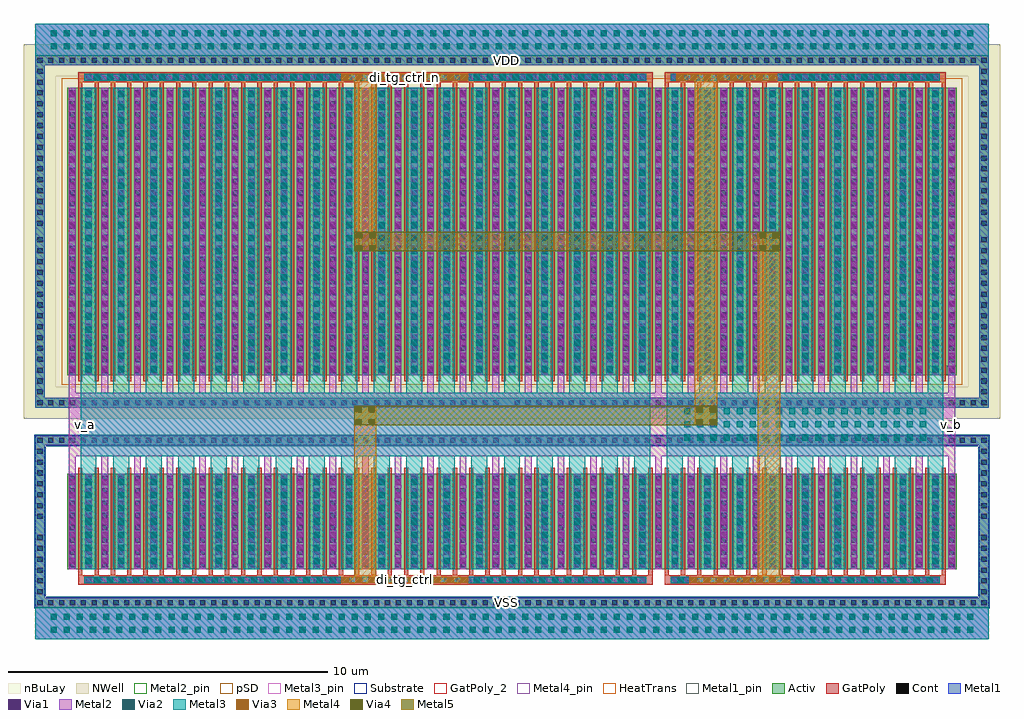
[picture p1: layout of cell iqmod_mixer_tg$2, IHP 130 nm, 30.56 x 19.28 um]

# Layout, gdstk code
import gdstk
lib = gdstk.Library(unit=1e-6, precision=1e-09)
def R(c, l, rs):  # rectangles x0, y0, x1, y1
    for r in rs: c.add(gdstk.rectangle(r[:2], r[2:], *l))
def A(c, l, x, y, w, h, nx, ny, dx, dy):  # array of equal rectangles
    R(c, l, [(x+i*dx, y+j*dy, x+i*dx+w, y+j*dy+h) for i in range(nx) for j in range(ny)])
def P(c, l, *ps):  # polygons
    for p in ps: c.add(gdstk.Polygon(p, *l))
Activ = (1, 0)
GatPoly = (5, 0)
GatPoly_2 = (5, 2)
Cont = (6, 0)
Metal1 = (8, 0)
Metal1_pin = (8, 2)
Metal2 = (10, 0)
Metal2_pin = (10, 2)
pSD = (14, 0)
Via1 = (19, 0)
Via2 = (29, 0)
Metal3 = (30, 0)
Metal3_pin = (30, 2)
NWell = (31, 0)
nBuLay = (32, 0)
Substrate = (40, 0)
Via3 = (49, 0)
Metal4 = (50, 0)
Metal4_pin = (50, 2)
HeatTrans = (51, 0)
Via4 = (66, 0)
Metal5 = (67, 0)

pmos_89 = lib.new_cell('pmos$89')
A(pmos_89, Activ, 0, 0, 0.3, 0.3, 55, 1, 0.51, 0)
R(pmos_89, Activ, [(-1.01,-0.71,-0.71,9.71), (28.55,-0.71,28.85,9.71), (0,0,27.84,9), (-1.01,9.71,28.85,10.01)])
P(pmos_89, Activ, [(-1.01,-1.01),(-1.01,9.71),(-0.71,9.71),(-0.71,-0.71),(28.55,-0.71),(28.55,9.71),(-1.01,9.71),(-1.01,10.01),(28.85,10.01),(28.85,-1.01)])
A(pmos_89, GatPoly, 0.34, -0.18, 0.13, 9.36, 54, 1, 0.51, 0)
R(pmos_89, GatPoly, [(0.34,-0.18,0.47,9.18)])
A(pmos_89, Cont, -0.94, -0.94, 0.16, 0.16, 43, 2, 0.34, 10.72)
A(pmos_89, Cont, 14, -0.94, 0.16, 0.16, 44, 2, 0.34, 10.72)
A(pmos_89, Cont, -0.94, -0.6, 0.16, 0.16, 1, 15, 0, 0.34)
A(pmos_89, Cont, 28.62, -0.6, 0.16, 0.16, 1, 15, 0, 0.34)
A(pmos_89, Cont, 0.07, 0.07, 0.16, 0.16, 55, 2, 0.51, 0.345)
A(pmos_89, Cont, 0.07, 0.765, 0.16, 0.16, 55, 2, 0.51, 0.345)
A(pmos_89, Cont, 0.07, 1.46, 0.16, 0.16, 55, 2, 0.51, 0.35)
A(pmos_89, Cont, 0.07, 2.155, 0.16, 0.16, 55, 2, 0.51, 0.35)
A(pmos_89, Cont, 0.07, 2.85, 0.16, 0.16, 55, 3, 0.51, 0.35)
A(pmos_89, Cont, 0.07, 3.895, 0.16, 0.16, 55, 2, 0.51, 0.35)
A(pmos_89, Cont, 0.07, 4.59, 0.16, 0.16, 55, 3, 0.51, 0.35)
A(pmos_89, Cont, -0.94, 4.68, 0.16, 0.16, 1, 15, 0, 0.34)
A(pmos_89, Cont, 28.62, 4.68, 0.16, 0.16, 1, 15, 0, 0.34)
A(pmos_89, Cont, 0.07, 5.635, 0.16, 0.16, 55, 2, 0.51, 0.35)
A(pmos_89, Cont, 0.07, 6.33, 0.16, 0.16, 55, 3, 0.51, 0.35)
A(pmos_89, Cont, 0.07, 7.375, 0.16, 0.16, 55, 2, 0.51, 0.35)
A(pmos_89, Cont, 0.07, 8.07, 0.16, 0.16, 55, 3, 0.51, 0.35)
A(pmos_89, Metal1, 0.58, 0, 0.16, 9, 54, 1, 0.51, 0)
R(pmos_89, Metal1, [(-1.01,-1.01,28.85,-0.71), (-1.01,-0.71,-0.71,9.71), (28.55,-0.71,28.85,9.71), (0.07,0,0.23,9), (0.07,0,0.23,9), (0.58,0,0.74,9), (-1.01,9.71,28.85,10.01)])
R(pmos_89, pSD, [(-0.18,-0.3,28.02,9.3)])
R(pmos_89, NWell, [(-1.36,-1.36,29.2,10.36), (-0.31,-0.31,28.15,9.31)])
R(pmos_89, nBuLay, [(-1.36,-0.36,-0.36,9.36), (28.2,-0.36,29.2,9.36), (-1.36,9.36,29.2,10.36)])
P(pmos_89, nBuLay, [(-1.36,-1.36),(-1.36,9.36),(-0.36,9.36),(-0.36,-0.36),(28.2,-0.36),(28.2,9.36),(-1.36,9.36),(-1.36,10.36),(29.2,10.36),(29.2,-1.36)])
R(pmos_89, Substrate, [(27.54,0,27.84,0.3)])
A(pmos_89, HeatTrans, 0.34, -0.18, 0.13, 9.36, 54, 1, 0.51, 0)
pmos_89.add(gdstk.Label('pmos', (0.405,4.5), layer=63, texttype=0))
pmos_89.add(gdstk.Label('well', (13.92,-0.86), layer=63, texttype=0))
pmos_89.add(gdstk.Label('pmos', (0.405,4.5), layer=51, texttype=0))
pmos_89.add(gdstk.Label('pmos', (0.915,4.5), layer=51, texttype=0))
pmos_89.add(gdstk.Label('pmos', (1.425,4.5), layer=51, texttype=0))
pmos_89.add(gdstk.Label('pmos', (1.935,4.5), layer=51, texttype=0))
pmos_89.add(gdstk.Label('pmos', (2.445,4.5), layer=51, texttype=0))
pmos_89.add(gdstk.Label('pmos', (2.955,4.5), layer=51, texttype=0))
pmos_89.add(gdstk.Label('pmos', (3.465,4.5), layer=51, texttype=0))
pmos_89.add(gdstk.Label('pmos', (3.975,4.5), layer=51, texttype=0))
pmos_89.add(gdstk.Label('pmos', (4.485,4.5), layer=51, texttype=0))
pmos_89.add(gdstk.Label('pmos', (4.995,4.5), layer=51, texttype=0))
pmos_89.add(gdstk.Label('pmos', (5.505,4.5), layer=51, texttype=0))
pmos_89.add(gdstk.Label('pmos', (6.015,4.5), layer=51, texttype=0))
pmos_89.add(gdstk.Label('pmos', (6.525,4.5), layer=51, texttype=0))
pmos_89.add(gdstk.Label('pmos', (7.035,4.5), layer=51, texttype=0))
pmos_89.add(gdstk.Label('pmos', (7.545,4.5), layer=51, texttype=0))
pmos_89.add(gdstk.Label('pmos', (8.055,4.5), layer=51, texttype=0))
pmos_89.add(gdstk.Label('pmos', (8.565,4.5), layer=51, texttype=0))
pmos_89.add(gdstk.Label('pmos', (9.075,4.5), layer=51, texttype=0))
pmos_89.add(gdstk.Label('pmos', (9.585,4.5), layer=51, texttype=0))
pmos_89.add(gdstk.Label('pmos', (10.095,4.5), layer=51, texttype=0))
pmos_89.add(gdstk.Label('pmos', (10.605,4.5), layer=51, texttype=0))
pmos_89.add(gdstk.Label('pmos', (11.115,4.5), layer=51, texttype=0))
pmos_89.add(gdstk.Label('pmos', (11.625,4.5), layer=51, texttype=0))
pmos_89.add(gdstk.Label('pmos', (12.135,4.5), layer=51, texttype=0))
pmos_89.add(gdstk.Label('pmos', (12.645,4.5), layer=51, texttype=0))
pmos_89.add(gdstk.Label('pmos', (13.155,4.5), layer=51, texttype=0))
pmos_89.add(gdstk.Label('pmos', (13.665,4.5), layer=51, texttype=0))
pmos_89.add(gdstk.Label('pmos', (14.175,4.5), layer=51, texttype=0))
pmos_89.add(gdstk.Label('pmos', (14.685,4.5), layer=51, texttype=0))
pmos_89.add(gdstk.Label('pmos', (15.195,4.5), layer=51, texttype=0))
pmos_89.add(gdstk.Label('pmos', (15.705,4.5), layer=51, texttype=0))
pmos_89.add(gdstk.Label('pmos', (16.215,4.5), layer=51, texttype=0))
pmos_89.add(gdstk.Label('pmos', (16.725,4.5), layer=51, texttype=0))
pmos_89.add(gdstk.Label('pmos', (17.235,4.5), layer=51, texttype=0))
pmos_89.add(gdstk.Label('pmos', (17.745,4.5), layer=51, texttype=0))
pmos_89.add(gdstk.Label('pmos', (18.255,4.5), layer=51, texttype=0))
pmos_89.add(gdstk.Label('pmos', (18.765,4.5), layer=51, texttype=0))
pmos_89.add(gdstk.Label('pmos', (19.275,4.5), layer=51, texttype=0))
pmos_89.add(gdstk.Label('pmos', (19.785,4.5), layer=51, texttype=0))
pmos_89.add(gdstk.Label('pmos', (20.295,4.5), layer=51, texttype=0))
pmos_89.add(gdstk.Label('pmos', (20.805,4.5), layer=51, texttype=0))
pmos_89.add(gdstk.Label('pmos', (21.315,4.5), layer=51, texttype=0))
pmos_89.add(gdstk.Label('pmos', (21.825,4.5), layer=51, texttype=0))
pmos_89.add(gdstk.Label('pmos', (22.335,4.5), layer=51, texttype=0))
pmos_89.add(gdstk.Label('pmos', (22.845,4.5), layer=51, texttype=0))
pmos_89.add(gdstk.Label('pmos', (23.355,4.5), layer=51, texttype=0))
pmos_89.add(gdstk.Label('pmos', (23.865,4.5), layer=51, texttype=0))
pmos_89.add(gdstk.Label('pmos', (24.375,4.5), layer=51, texttype=0))
pmos_89.add(gdstk.Label('pmos', (24.885,4.5), layer=51, texttype=0))
pmos_89.add(gdstk.Label('pmos', (25.395,4.5), layer=51, texttype=0))
pmos_89.add(gdstk.Label('pmos', (25.905,4.5), layer=51, texttype=0))
pmos_89.add(gdstk.Label('pmos', (26.415,4.5), layer=51, texttype=0))
pmos_89.add(gdstk.Label('pmos', (26.925,4.5), layer=51, texttype=0))
pmos_89.add(gdstk.Label('pmos', (27.435,4.5), layer=51, texttype=0))

nmos_89 = lib.new_cell('nmos$89')
A(nmos_89, Activ, 0, 0, 0.3, 0.3, 55, 1, 0.51, 0)
R(nmos_89, Activ, [(-1.01,-0.89,-0.71,3.89), (28.55,-0.89,28.85,3.89), (0,0,27.84,3), (-1.01,3.89,28.85,4.19)])
P(nmos_89, Activ, [(-1.01,-1.19),(-1.01,3.89),(-0.71,3.89),(-0.71,-0.89),(28.55,-0.89),(28.55,3.89),(-1.01,3.89),(-1.01,4.19),(28.85,4.19),(28.85,-1.19)])
A(nmos_89, GatPoly, 0.34, -0.18, 0.13, 3.36, 54, 1, 0.51, 0)
R(nmos_89, GatPoly_2, [(0.34,-0.18,0.47,3.18)])
A(nmos_89, Cont, -0.94, -1.12, 0.16, 0.16, 43, 2, 0.34, 5.08)
A(nmos_89, Cont, 14, -1.12, 0.16, 0.16, 44, 2, 0.34, 5.08)
A(nmos_89, Cont, -0.94, -0.78, 0.16, 0.16, 1, 6, 0, 0.34)
A(nmos_89, Cont, 28.62, -0.78, 0.16, 0.16, 1, 6, 0, 0.34)
A(nmos_89, Cont, 0.07, 0.07, 0.16, 0.16, 55, 7, 0.51, 0.385)
A(nmos_89, Cont, -0.94, 1.58, 0.16, 0.16, 1, 7, 0, 0.34)
A(nmos_89, Cont, 28.62, 1.58, 0.16, 0.16, 1, 7, 0, 0.34)
A(nmos_89, Cont, 0.07, 2.77, 0.16, 0.16, 55, 1, 0.51, 0)
A(nmos_89, Metal1, 0.07, 0, 0.16, 3, 55, 1, 0.51, 0)
R(nmos_89, Metal1, [(-1.01,-1.19,28.85,-0.89), (-1.01,-0.89,-0.71,3.89), (28.55,-0.89,28.85,3.89), (-1.01,3.89,28.85,4.19)])
R(nmos_89, Metal1_pin, [(0.07,0,0.23,3), (0.58,0,0.74,3)])
R(nmos_89, pSD, [(-1.04,-0.86,-0.68,3.86), (28.52,-0.86,28.88,3.86), (-1.04,3.86,28.88,4.22)])
P(nmos_89, pSD, [(-1.04,-1.22),(-1.04,3.86),(-0.68,3.86),(-0.68,-0.86),(28.52,-0.86),(28.52,3.86),(-1.04,3.86),(-1.04,4.22),(28.88,4.22),(28.88,-1.22)])
R(nmos_89, Substrate, [(-1.04,-0.86,-0.68,3.86), (28.52,-0.86,28.88,3.86), (-1.04,3.86,28.88,4.22)])
P(nmos_89, Substrate, [(-1.04,-1.22),(-1.04,3.86),(-0.68,3.86),(-0.68,-0.86),(28.52,-0.86),(28.52,3.86),(-1.04,3.86),(-1.04,4.22),(28.88,4.22),(28.88,-1.22)])
A(nmos_89, HeatTrans, 0.34, -0.18, 0.13, 3.36, 54, 1, 0.51, 0)
nmos_89.add(gdstk.Label('nmos', (0.405,1.5), layer=63, texttype=0))
nmos_89.add(gdstk.Label('sub!', (13.92,-1.04), layer=63, texttype=0))
nmos_89.add(gdstk.Label('nmos', (0.405,1.5), layer=51, texttype=0))
nmos_89.add(gdstk.Label('nmos', (0.915,1.5), layer=51, texttype=0))
nmos_89.add(gdstk.Label('nmos', (1.425,1.5), layer=51, texttype=0))
nmos_89.add(gdstk.Label('nmos', (1.935,1.5), layer=51, texttype=0))
nmos_89.add(gdstk.Label('nmos', (2.445,1.5), layer=51, texttype=0))
nmos_89.add(gdstk.Label('nmos', (2.955,1.5), layer=51, texttype=0))
nmos_89.add(gdstk.Label('nmos', (3.465,1.5), layer=51, texttype=0))
nmos_89.add(gdstk.Label('nmos', (3.975,1.5), layer=51, texttype=0))
nmos_89.add(gdstk.Label('nmos', (4.485,1.5), layer=51, texttype=0))
nmos_89.add(gdstk.Label('nmos', (4.995,1.5), layer=51, texttype=0))
nmos_89.add(gdstk.Label('nmos', (5.505,1.5), layer=51, texttype=0))
nmos_89.add(gdstk.Label('nmos', (6.015,1.5), layer=51, texttype=0))
nmos_89.add(gdstk.Label('nmos', (6.525,1.5), layer=51, texttype=0))
nmos_89.add(gdstk.Label('nmos', (7.035,1.5), layer=51, texttype=0))
nmos_89.add(gdstk.Label('nmos', (7.545,1.5), layer=51, texttype=0))
nmos_89.add(gdstk.Label('nmos', (8.055,1.5), layer=51, texttype=0))
nmos_89.add(gdstk.Label('nmos', (8.565,1.5), layer=51, texttype=0))
nmos_89.add(gdstk.Label('nmos', (9.075,1.5), layer=51, texttype=0))
nmos_89.add(gdstk.Label('nmos', (9.585,1.5), layer=51, texttype=0))
nmos_89.add(gdstk.Label('nmos', (10.095,1.5), layer=51, texttype=0))
nmos_89.add(gdstk.Label('nmos', (10.605,1.5), layer=51, texttype=0))
nmos_89.add(gdstk.Label('nmos', (11.115,1.5), layer=51, texttype=0))
nmos_89.add(gdstk.Label('nmos', (11.625,1.5), layer=51, texttype=0))
nmos_89.add(gdstk.Label('nmos', (12.135,1.5), layer=51, texttype=0))
nmos_89.add(gdstk.Label('nmos', (12.645,1.5), layer=51, texttype=0))
nmos_89.add(gdstk.Label('nmos', (13.155,1.5), layer=51, texttype=0))
nmos_89.add(gdstk.Label('nmos', (13.665,1.5), layer=51, texttype=0))
nmos_89.add(gdstk.Label('nmos', (14.175,1.5), layer=51, texttype=0))
nmos_89.add(gdstk.Label('nmos', (14.685,1.5), layer=51, texttype=0))
nmos_89.add(gdstk.Label('nmos', (15.195,1.5), layer=51, texttype=0))
nmos_89.add(gdstk.Label('nmos', (15.705,1.5), layer=51, texttype=0))
nmos_89.add(gdstk.Label('nmos', (16.215,1.5), layer=51, texttype=0))
nmos_89.add(gdstk.Label('nmos', (16.725,1.5), layer=51, texttype=0))
nmos_89.add(gdstk.Label('nmos', (17.235,1.5), layer=51, texttype=0))
nmos_89.add(gdstk.Label('nmos', (17.745,1.5), layer=51, texttype=0))
nmos_89.add(gdstk.Label('nmos', (18.255,1.5), layer=51, texttype=0))
nmos_89.add(gdstk.Label('nmos', (18.765,1.5), layer=51, texttype=0))
nmos_89.add(gdstk.Label('nmos', (19.275,1.5), layer=51, texttype=0))
nmos_89.add(gdstk.Label('nmos', (19.785,1.5), layer=51, texttype=0))
nmos_89.add(gdstk.Label('nmos', (20.295,1.5), layer=51, texttype=0))
nmos_89.add(gdstk.Label('nmos', (20.805,1.5), layer=51, texttype=0))
nmos_89.add(gdstk.Label('nmos', (21.315,1.5), layer=51, texttype=0))
nmos_89.add(gdstk.Label('nmos', (21.825,1.5), layer=51, texttype=0))
nmos_89.add(gdstk.Label('nmos', (22.335,1.5), layer=51, texttype=0))
nmos_89.add(gdstk.Label('nmos', (22.845,1.5), layer=51, texttype=0))
nmos_89.add(gdstk.Label('nmos', (23.355,1.5), layer=51, texttype=0))
nmos_89.add(gdstk.Label('nmos', (23.865,1.5), layer=51, texttype=0))
nmos_89.add(gdstk.Label('nmos', (24.375,1.5), layer=51, texttype=0))
nmos_89.add(gdstk.Label('nmos', (24.885,1.5), layer=51, texttype=0))
nmos_89.add(gdstk.Label('nmos', (25.395,1.5), layer=51, texttype=0))
nmos_89.add(gdstk.Label('nmos', (25.905,1.5), layer=51, texttype=0))
nmos_89.add(gdstk.Label('nmos', (26.415,1.5), layer=51, texttype=0))
nmos_89.add(gdstk.Label('nmos', (26.925,1.5), layer=51, texttype=0))
nmos_89.add(gdstk.Label('nmos', (27.435,1.5), layer=51, texttype=0))

via_stack_818 = lib.new_cell('via_stack$818')
R(via_stack_818, Metal1, [(-0.105,-4.45,0.105,4.45)])
R(via_stack_818, Metal2, [(-0.1,-4.45,0.1,4.45)])
A(via_stack_818, Via1, -0.095, -4.4, 0.19, 0.19, 1, 22, 0, 0.41)

via_stack_819 = lib.new_cell('via_stack$819')
R(via_stack_819, Metal1, [(-0.105,-4.45,0.105,4.45)])
R(via_stack_819, Metal2, [(-0.1,-4.45,0.1,4.45)])
A(via_stack_819, Via1, -0.095, -4.4, 0.19, 0.19, 1, 22, 0, 0.41)
A(via_stack_819, Via2, -0.095, -4.4, 0.19, 0.19, 1, 22, 0, 0.41)
R(via_stack_819, Metal3, [(-0.1,-4.45,0.1,4.45)])

via_stack_820 = lib.new_cell('via_stack$820')
R(via_stack_820, Metal1, [(-0.105,-1.375,0.105,1.375)])
R(via_stack_820, Metal2, [(-0.1,-1.375,0.1,1.375)])
A(via_stack_820, Via1, -0.095, -1.325, 0.19, 0.19, 1, 7, 0, 0.41)
A(via_stack_820, Via2, -0.095, -1.325, 0.19, 0.19, 1, 7, 0, 0.41)
R(via_stack_820, Metal3, [(-0.1,-1.375,0.1,1.375)])

via_stack_821 = lib.new_cell('via_stack$821')
R(via_stack_821, Metal1, [(-14.495,-0.31,14.495,0.31)])
R(via_stack_821, Metal2, [(-14.495,-0.305,14.495,0.305)])
A(via_stack_821, Via1, -14.445, -0.3, 0.19, 0.19, 71, 2, 0.41, 0.41)
A(via_stack_821, Via2, -14.445, -0.3, 0.19, 0.19, 71, 2, 0.41, 0.41)
R(via_stack_821, Metal3, [(-14.495,-0.305,14.495,0.305)])

via_stack_822 = lib.new_cell('via_stack$822')
R(via_stack_822, Metal1, [(-8.55,-0.105,8.55,0.105)])
R(via_stack_822, Metal2, [(-8.55,-0.1,8.55,0.1)])
A(via_stack_822, Via1, -8.5, -0.095, 0.19, 0.19, 42, 1, 0.41, 0)
A(via_stack_822, Via2, -8.5, -0.095, 0.19, 0.19, 42, 1, 0.41, 0)
R(via_stack_822, Metal3, [(-8.55,-0.1,8.55,0.1)])

via_stack_823 = lib.new_cell('via_stack$823')
R(via_stack_823, GatPoly, [(-8.82,-0.15,8.82,0.15)])
A(via_stack_823, Cont, -8.75, -0.08, 0.16, 0.16, 52, 1, 0.34, 0)
R(via_stack_823, Metal1, [(-8.8,-0.08,8.8,0.08)])

via_stack_824 = lib.new_cell('via_stack$824')
R(via_stack_824, GatPoly, [(-4.23,-0.15,4.23,0.15)])
A(via_stack_824, Cont, -4.16, -0.08, 0.16, 0.16, 25, 1, 0.34, 0)
R(via_stack_824, Metal1, [(-4.21,-0.08,4.21,0.08)])

via_stack_825 = lib.new_cell('via_stack$825')
R(via_stack_825, Metal4, [(-0.35,-0.305,0.35,0.305)])
R(via_stack_825, Via4, [(-0.3,-0.3,-0.11,-0.11), (0.11,-0.3,0.3,-0.11), (-0.3,0.11,-0.11,0.3), (0.11,0.11,0.3,0.3)])
R(via_stack_825, Metal5, [(-0.35,-0.305,0.35,0.305)])

via_stack_826 = lib.new_cell('via_stack$826')
R(via_stack_826, Metal1, [(-4.04,-0.105,4.04,0.105)])
R(via_stack_826, Metal2, [(-4.04,-0.1,4.04,0.1)])
A(via_stack_826, Via1, -3.99, -0.095, 0.19, 0.19, 20, 1, 0.41, 0)
A(via_stack_826, Via2, -3.99, -0.095, 0.19, 0.19, 20, 1, 0.41, 0)
R(via_stack_826, Metal3, [(-4.04,-0.1,4.04,0.1)])

via_stack_827 = lib.new_cell('via_stack$827')
R(via_stack_827, Metal3, [(-1.58,-0.1,1.58,0.1)])
A(via_stack_827, Via3, -1.53, -0.095, 0.19, 0.19, 8, 1, 0.41, 0)
R(via_stack_827, Metal4, [(-1.58,-0.1,1.58,0.1)])

via_stack_828 = lib.new_cell('via_stack$828')
R(via_stack_828, Metal3, [(-1.99,-0.1,1.99,0.1)])
A(via_stack_828, Via3, -1.94, -0.095, 0.19, 0.19, 10, 1, 0.41, 0)
R(via_stack_828, Metal4, [(-1.99,-0.1,1.99,0.1)])

via_stack_829 = lib.new_cell('via_stack$829')
R(via_stack_829, Metal1, [(-0.105,-1.375,0.105,1.375)])
R(via_stack_829, Metal2, [(-0.1,-1.375,0.1,1.375)])
A(via_stack_829, Via1, -0.095, -1.325, 0.19, 0.19, 1, 7, 0, 0.41)

via_stack_830 = lib.new_cell('via_stack$830')
R(via_stack_830, Metal2, [(-3.835,-0.51,3.835,0.51)])
A(via_stack_830, Via2, -3.785, -0.505, 0.19, 0.19, 19, 3, 0.41, 0.41)
R(via_stack_830, Metal3, [(-3.835,-0.51,3.835,0.51)])

iqmod_mixer_tg_2 = lib.new_cell('iqmod_mixer_tg$2')
R(iqmod_mixer_tg_2, GatPoly, [(1.7,1.71,19.68,2.01), (20.06,1.71,28.86,2.01), (1.7,17.45,19.68,17.75), (20.06,17.45,28.86,17.75)])
A(iqmod_mixer_tg_2, Metal1, 1.405, 2.19, 0.21, 3, 55, 1, 0.51, 0)
A(iqmod_mixer_tg_2, Metal1, 1.405, 8.27, 0.21, 9, 55, 1, 0.51, 0)
R(iqmod_mixer_tg_2, Metal1, [(0.35,0,30.21,1), (14.86,1,15.36,1.3), (1.89,1.755,19.49,1.965), (20.25,1.755,28.67,1.965), (1.89,17.495,19.49,17.705), (20.25,17.495,28.67,17.705), (14.86,17.98,15.36,18.28), (0.35,18.28,30.21,19.28)])
R(iqmod_mixer_tg_2, Metal1_pin, [(14.985,1.025,15.235,1.275), (14.985,18.005,15.235,18.255)])
A(iqmod_mixer_tg_2, Metal2, 1.405, 2.19, 0.21, 3, 55, 1, 0.51, 0)
A(iqmod_mixer_tg_2, Metal2, 1.405, 2.19, 0.21, 15.08, 28, 1, 1.02, 0)
A(iqmod_mixer_tg_2, Metal2, 1.405, 8.27, 0.21, 9, 55, 1, 0.51, 0)
R(iqmod_mixer_tg_2, Metal2, [(0.35,0,30.21,1), (1.89,1.755,19.49,1.965), (20.25,1.755,28.67,1.965), (1.405,5.19,1.615,8.27), (1.405,5.73,29.155,7.73), (1.89,17.495,19.49,17.705), (20.25,17.495,28.67,17.705), (0.35,18.28,30.21,19.28)])
R(iqmod_mixer_tg_2, Metal2_pin, [(28.905,6.605,29.155,6.855)])
A(iqmod_mixer_tg_2, Metal3, 1.77, 2.19, 0.5, 15.08, 27, 1, 1.02, 0)
A(iqmod_mixer_tg_2, Metal3, 1.915, 2.19, 0.21, 3, 27, 1, 1.02, 0)
A(iqmod_mixer_tg_2, Metal3, 1.915, 8.27, 0.21, 9, 27, 1, 1.02, 0)
R(iqmod_mixer_tg_2, Metal3, [(0.35,0,30.21,1), (1.89,1.755,19.49,1.965), (20.25,1.755,28.67,1.965), (1.77,5.73,19.61,7.73), (20.13,5.73,28.79,7.73), (1.89,17.495,19.49,17.705), (20.25,17.495,28.67,17.705), (0.35,18.28,30.21,19.28)])
R(iqmod_mixer_tg_2, Metal3_pin, [(1.77,6.605,2.02,6.855)])
R(iqmod_mixer_tg_2, Metal4, [(9.93,1.755,13.91,1.965), (20.83,1.755,23.99,1.965), (11.81,1.765,12.03,1.955), (10.335,1.965,11.035,7.31), (22.98,1.965,23.68,12.76), (21.005,6.7,21.705,17.495), (10.345,12.15,11.045,17.495), (9.93,17.495,13.91,17.705), (20.42,17.495,23.58,17.705), (11.81,17.505,12.03,17.695)])
R(iqmod_mixer_tg_2, Metal4_pin, [(11.845,1.785,11.995,1.935), (11.845,17.525,11.995,17.675)])
R(iqmod_mixer_tg_2, Metal5, [(10.335,6.7,21.705,7.31), (10.345,12.15,23.68,12.76)])
iqmod_mixer_tg_2.add(gdstk.Reference(pmos_89, (1.36,8.27)))
iqmod_mixer_tg_2.add(gdstk.Reference(nmos_89, (1.36,2.19)))
iqmod_mixer_tg_2.add(gdstk.Reference(via_stack_818, (2.53,12.77)))
iqmod_mixer_tg_2.add(gdstk.Reference(via_stack_819, (3.04,12.77)))
iqmod_mixer_tg_2.add(gdstk.Reference(via_stack_818, (5.59,12.77)))
iqmod_mixer_tg_2.add(gdstk.Reference(via_stack_819, (6.1,12.77)))
iqmod_mixer_tg_2.add(gdstk.Reference(via_stack_818, (4.57,12.77)))
iqmod_mixer_tg_2.add(gdstk.Reference(via_stack_819, (5.08,12.77)))
iqmod_mixer_tg_2.add(gdstk.Reference(via_stack_818, (3.55,12.77)))
iqmod_mixer_tg_2.add(gdstk.Reference(via_stack_819, (4.06,12.77)))
iqmod_mixer_tg_2.add(gdstk.Reference(via_stack_818, (6.61,12.77)))
iqmod_mixer_tg_2.add(gdstk.Reference(via_stack_819, (7.12,12.77)))
iqmod_mixer_tg_2.add(gdstk.Reference(via_stack_818, (7.63,12.77)))
iqmod_mixer_tg_2.add(gdstk.Reference(via_stack_819, (8.14,12.77)))
iqmod_mixer_tg_2.add(gdstk.Reference(via_stack_818, (10.69,12.77)))
iqmod_mixer_tg_2.add(gdstk.Reference(via_stack_819, (11.2,12.77)))
iqmod_mixer_tg_2.add(gdstk.Reference(via_stack_818, (9.67,12.77)))
iqmod_mixer_tg_2.add(gdstk.Reference(via_stack_819, (10.18,12.77)))
iqmod_mixer_tg_2.add(gdstk.Reference(via_stack_818, (8.65,12.77)))
iqmod_mixer_tg_2.add(gdstk.Reference(via_stack_819, (9.16,12.77)))
iqmod_mixer_tg_2.add(gdstk.Reference(via_stack_818, (11.71,12.77)))
iqmod_mixer_tg_2.add(gdstk.Reference(via_stack_819, (12.22,12.77)))
iqmod_mixer_tg_2.add(gdstk.Reference(via_stack_818, (12.73,12.77)))
iqmod_mixer_tg_2.add(gdstk.Reference(via_stack_819, (13.24,12.77)))
iqmod_mixer_tg_2.add(gdstk.Reference(via_stack_818, (15.79,12.77)))
iqmod_mixer_tg_2.add(gdstk.Reference(via_stack_819, (16.3,12.77)))
iqmod_mixer_tg_2.add(gdstk.Reference(via_stack_818, (14.77,12.77)))
iqmod_mixer_tg_2.add(gdstk.Reference(via_stack_819, (15.28,12.77)))
iqmod_mixer_tg_2.add(gdstk.Reference(via_stack_818, (13.75,12.77)))
iqmod_mixer_tg_2.add(gdstk.Reference(via_stack_819, (14.26,12.77)))
iqmod_mixer_tg_2.add(gdstk.Reference(via_stack_818, (16.81,12.77)))
iqmod_mixer_tg_2.add(gdstk.Reference(via_stack_819, (17.32,12.77)))
iqmod_mixer_tg_2.add(gdstk.Reference(via_stack_818, (17.83,12.77)))
iqmod_mixer_tg_2.add(gdstk.Reference(via_stack_819, (18.34,12.77)))
iqmod_mixer_tg_2.add(gdstk.Reference(via_stack_818, (20.89,12.77)))
iqmod_mixer_tg_2.add(gdstk.Reference(via_stack_819, (21.4,12.77)))
iqmod_mixer_tg_2.add(gdstk.Reference(via_stack_818, (19.87,12.77)))
iqmod_mixer_tg_2.add(gdstk.Reference(via_stack_819, (20.38,12.77)))
iqmod_mixer_tg_2.add(gdstk.Reference(via_stack_818, (18.85,12.77)))
iqmod_mixer_tg_2.add(gdstk.Reference(via_stack_819, (19.36,12.77)))
iqmod_mixer_tg_2.add(gdstk.Reference(via_stack_818, (21.91,12.77)))
iqmod_mixer_tg_2.add(gdstk.Reference(via_stack_819, (22.42,12.77)))
iqmod_mixer_tg_2.add(gdstk.Reference(via_stack_818, (22.93,12.77)))
iqmod_mixer_tg_2.add(gdstk.Reference(via_stack_819, (23.44,12.77)))
iqmod_mixer_tg_2.add(gdstk.Reference(via_stack_818, (25.99,12.77)))
iqmod_mixer_tg_2.add(gdstk.Reference(via_stack_819, (26.5,12.77)))
iqmod_mixer_tg_2.add(gdstk.Reference(via_stack_818, (24.97,12.77)))
iqmod_mixer_tg_2.add(gdstk.Reference(via_stack_819, (25.48,12.77)))
iqmod_mixer_tg_2.add(gdstk.Reference(via_stack_818, (23.95,12.77)))
iqmod_mixer_tg_2.add(gdstk.Reference(via_stack_819, (24.46,12.77)))
iqmod_mixer_tg_2.add(gdstk.Reference(via_stack_818, (27.01,12.77)))
iqmod_mixer_tg_2.add(gdstk.Reference(via_stack_819, (27.52,12.77)))
iqmod_mixer_tg_2.add(gdstk.Reference(via_stack_818, (28.03,12.77)))
iqmod_mixer_tg_2.add(gdstk.Reference(via_stack_819, (28.54,12.77)))
iqmod_mixer_tg_2.add(gdstk.Reference(via_stack_818, (29.05,12.77)))
iqmod_mixer_tg_2.add(gdstk.Reference(via_stack_820, (15.28,3.69)))
iqmod_mixer_tg_2.add(gdstk.Reference(via_stack_821, (15.28,18.78)))
iqmod_mixer_tg_2.add(gdstk.Reference(via_stack_821, (15.28,0.5), x_reflection=True))
iqmod_mixer_tg_2.add(gdstk.Reference(via_stack_819, (2.02,12.77)))
iqmod_mixer_tg_2.add(gdstk.Reference(via_stack_818, (1.51,12.77)))
iqmod_mixer_tg_2.add(gdstk.Reference(via_stack_822, (10.69,17.6)))
iqmod_mixer_tg_2.add(gdstk.Reference(via_stack_823, (10.69,17.6)))
iqmod_mixer_tg_2.add(gdstk.Reference(via_stack_822, (10.69,1.86)))
iqmod_mixer_tg_2.add(gdstk.Reference(via_stack_823, (10.69,1.86)))
iqmod_mixer_tg_2.add(gdstk.Reference(via_stack_824, (24.46,17.6)))
iqmod_mixer_tg_2.add(gdstk.Reference(via_stack_825, (23.33,12.455)))
iqmod_mixer_tg_2.add(gdstk.Reference(via_stack_826, (24.46,17.6)))
iqmod_mixer_tg_2.add(gdstk.Reference(via_stack_827, (22,17.6)))
iqmod_mixer_tg_2.add(gdstk.Reference(via_stack_825, (10.695,12.455)))
iqmod_mixer_tg_2.add(gdstk.Reference(via_stack_828, (11.92,17.6)))
iqmod_mixer_tg_2.add(gdstk.Reference(via_stack_820, (14.26,3.69)))
iqmod_mixer_tg_2.add(gdstk.Reference(via_stack_829, (14.77,3.69)))
iqmod_mixer_tg_2.add(gdstk.Reference(via_stack_820, (3.04,3.69)))
iqmod_mixer_tg_2.add(gdstk.Reference(via_stack_829, (2.53,3.69)))
iqmod_mixer_tg_2.add(gdstk.Reference(via_stack_829, (3.55,3.69)))
iqmod_mixer_tg_2.add(gdstk.Reference(via_stack_820, (4.06,3.69)))
iqmod_mixer_tg_2.add(gdstk.Reference(via_stack_820, (5.08,3.69)))
iqmod_mixer_tg_2.add(gdstk.Reference(via_stack_829, (4.57,3.69)))
iqmod_mixer_tg_2.add(gdstk.Reference(via_stack_820, (2.02,3.69)))
iqmod_mixer_tg_2.add(gdstk.Reference(via_stack_829, (1.51,3.69)))
iqmod_mixer_tg_2.add(gdstk.Reference(via_stack_829, (5.59,3.69)))
iqmod_mixer_tg_2.add(gdstk.Reference(via_stack_820, (6.1,3.69)))
iqmod_mixer_tg_2.add(gdstk.Reference(via_stack_820, (7.12,3.69)))
iqmod_mixer_tg_2.add(gdstk.Reference(via_stack_829, (6.61,3.69)))
iqmod_mixer_tg_2.add(gdstk.Reference(via_stack_829, (7.63,3.69)))
iqmod_mixer_tg_2.add(gdstk.Reference(via_stack_820, (8.14,3.69)))
iqmod_mixer_tg_2.add(gdstk.Reference(via_stack_820, (9.16,3.69)))
iqmod_mixer_tg_2.add(gdstk.Reference(via_stack_829, (8.65,3.69)))
iqmod_mixer_tg_2.add(gdstk.Reference(via_stack_829, (9.67,3.69)))
iqmod_mixer_tg_2.add(gdstk.Reference(via_stack_820, (10.18,3.69)))
iqmod_mixer_tg_2.add(gdstk.Reference(via_stack_820, (11.2,3.69)))
iqmod_mixer_tg_2.add(gdstk.Reference(via_stack_829, (10.69,3.69)))
iqmod_mixer_tg_2.add(gdstk.Reference(via_stack_825, (10.685,7.005)))
iqmod_mixer_tg_2.add(gdstk.Reference(via_stack_829, (11.71,3.69)))
iqmod_mixer_tg_2.add(gdstk.Reference(via_stack_828, (11.92,1.86)))
iqmod_mixer_tg_2.add(gdstk.Reference(via_stack_820, (12.22,3.69)))
iqmod_mixer_tg_2.add(gdstk.Reference(via_stack_820, (13.24,3.69)))
iqmod_mixer_tg_2.add(gdstk.Reference(via_stack_829, (12.73,3.69)))
iqmod_mixer_tg_2.add(gdstk.Reference(via_stack_829, (13.75,3.69)))
iqmod_mixer_tg_2.add(gdstk.Reference(via_stack_829, (15.79,3.69)))
iqmod_mixer_tg_2.add(gdstk.Reference(via_stack_820, (16.3,3.69)))
iqmod_mixer_tg_2.add(gdstk.Reference(via_stack_820, (17.32,3.69)))
iqmod_mixer_tg_2.add(gdstk.Reference(via_stack_829, (16.81,3.69)))
iqmod_mixer_tg_2.add(gdstk.Reference(via_stack_829, (17.83,3.69)))
iqmod_mixer_tg_2.add(gdstk.Reference(via_stack_820, (18.34,3.69)))
iqmod_mixer_tg_2.add(gdstk.Reference(via_stack_820, (19.36,3.69)))
iqmod_mixer_tg_2.add(gdstk.Reference(via_stack_829, (22.93,3.69)))
iqmod_mixer_tg_2.add(gdstk.Reference(via_stack_829, (18.85,3.69)))
iqmod_mixer_tg_2.add(gdstk.Reference(via_stack_829, (19.87,3.69)))
iqmod_mixer_tg_2.add(gdstk.Reference(via_stack_820, (20.38,3.69)))
iqmod_mixer_tg_2.add(gdstk.Reference(via_stack_820, (21.4,3.69)))
iqmod_mixer_tg_2.add(gdstk.Reference(via_stack_829, (20.89,3.69)))
iqmod_mixer_tg_2.add(gdstk.Reference(via_stack_829, (21.91,3.69)))
iqmod_mixer_tg_2.add(gdstk.Reference(via_stack_820, (22.42,3.69)))
iqmod_mixer_tg_2.add(gdstk.Reference(via_stack_825, (21.355,7.005)))
iqmod_mixer_tg_2.add(gdstk.Reference(via_stack_820, (23.44,3.69)))
iqmod_mixer_tg_2.add(gdstk.Reference(via_stack_829, (23.95,3.69)))
iqmod_mixer_tg_2.add(gdstk.Reference(via_stack_820, (24.46,3.69)))
iqmod_mixer_tg_2.add(gdstk.Reference(via_stack_826, (24.46,1.86)))
iqmod_mixer_tg_2.add(gdstk.Reference(via_stack_824, (24.46,1.86)))
iqmod_mixer_tg_2.add(gdstk.Reference(via_stack_830, (24.46,6.73)))
iqmod_mixer_tg_2.add(gdstk.Reference(via_stack_820, (25.48,3.69)))
iqmod_mixer_tg_2.add(gdstk.Reference(via_stack_829, (24.97,3.69)))
iqmod_mixer_tg_2.add(gdstk.Reference(via_stack_829, (25.99,3.69)))
iqmod_mixer_tg_2.add(gdstk.Reference(via_stack_820, (26.5,3.69)))
iqmod_mixer_tg_2.add(gdstk.Reference(via_stack_820, (27.52,3.69)))
iqmod_mixer_tg_2.add(gdstk.Reference(via_stack_829, (27.01,3.69)))
iqmod_mixer_tg_2.add(gdstk.Reference(via_stack_829, (28.03,3.69)))
iqmod_mixer_tg_2.add(gdstk.Reference(via_stack_820, (28.54,3.69)))
iqmod_mixer_tg_2.add(gdstk.Reference(via_stack_829, (29.05,3.69)))
iqmod_mixer_tg_2.add(gdstk.Reference(via_stack_827, (22.41,1.86)))
iqmod_mixer_tg_2.add(gdstk.Label('v_b', (29.03,6.73), layer=10, texttype=25))
iqmod_mixer_tg_2.add(gdstk.Label('VDD', (15.11,18.13), layer=8, texttype=25))
iqmod_mixer_tg_2.add(gdstk.Label('VSS', (15.11,1.15), layer=8, texttype=25))
iqmod_mixer_tg_2.add(gdstk.Label('v_a', (1.895,6.73), layer=30, texttype=25))
iqmod_mixer_tg_2.add(gdstk.Label('di_tg_ctrl_n', (11.92,17.6), layer=50, texttype=25))
iqmod_mixer_tg_2.add(gdstk.Label('di_tg_ctrl', (11.92,1.86), layer=50, texttype=25))

lib.write_gds('iqmod_mixer_tg_2.gds')
